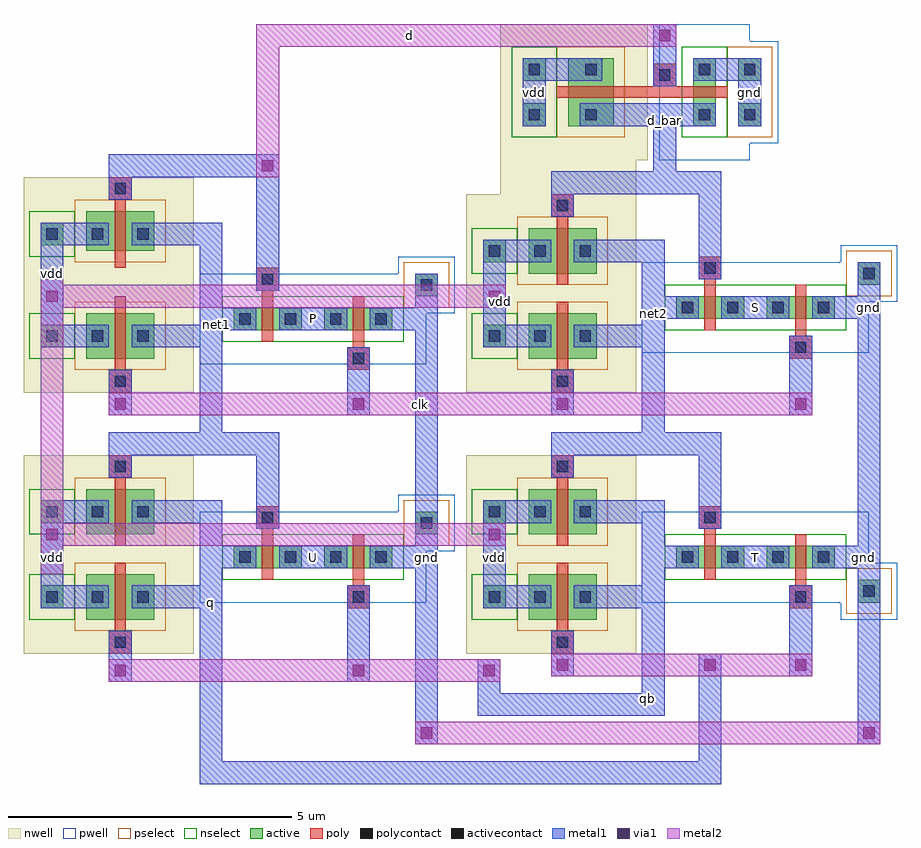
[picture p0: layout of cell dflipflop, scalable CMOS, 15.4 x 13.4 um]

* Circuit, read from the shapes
.subckt dflipflop P S T U clk d d_bar gnd net1 net2 q qb vdd
M1 U net1 q gnd nfet w=0.4u l=0.2u
M2 P d net1 gnd nfet w=0.4u l=0.2u
M3 gnd qb U gnd nfet w=0.4u l=0.2u
M4 gnd clk P gnd nfet w=0.4u l=0.2u
M5 gnd d d_bar gnd nfet w=0.4u l=0.2u
M6 T net2 qb gnd nfet w=0.4u l=0.2u
M7 S d_bar net2 gnd nfet w=0.4u l=0.2u
M8 gnd q T gnd nfet w=0.4u l=0.2u
M9 gnd clk S gnd nfet w=0.4u l=0.2u
M10 q qb vdd vdd pfet w=0.8u l=0.2u
M11 q net1 vdd vdd pfet w=0.8u l=0.2u
M12 net1 clk vdd vdd pfet w=0.8u l=0.2u
M13 net1 d vdd vdd pfet w=0.7u l=0.2u
M14 qb q vdd vdd pfet w=0.8u l=0.2u
M15 qb net2 vdd vdd pfet w=0.8u l=0.2u
M16 net2 clk vdd vdd pfet w=0.8u l=0.2u
M17 net2 d_bar vdd vdd pfet w=0.8u l=0.2u
M18 vdd d d_bar vdd pfet w=0.8u l=0.2u
.ends

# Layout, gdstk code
import gdstk
lib = gdstk.Library(unit=1e-6, precision=1e-09)
def R(c, l, rs):  # rectangles x0, y0, x1, y1
    for r in rs: c.add(gdstk.rectangle(r[:2], r[2:], *l))
def A(c, l, x, y, w, h, nx, ny, dx, dy):  # array of equal rectangles
    R(c, l, [(x+i*dx, y+j*dy, x+i*dx+w, y+j*dy+h) for i in range(nx) for j in range(ny)])
pwell = (41, 0)
nwell = (42, 0)
active = (43, 0)
pselect = (44, 0)
nselect = (45, 0)
poly = (46, 0)
polycontact = (47, 0)
activecontact = (48, 0)
metal1 = (49, 0)
via1 = (50, 0)
metal2 = (51, 0)

dflipflop = lib.new_cell('dflipflop')
R(dflipflop, pwell, [(13,-9.4,14,-9.1), (1.7,-9.1,5.7,-8.2), (9.5,-9.1,14,-8.4), (9.5,-8.4,13.5,-7.5), (1.7,-8.2,6.2,-7.5), (5.2,-7.5,6.2,-7.2), (1.7,-4.9,5.7,-4), (9.5,-4.7,13.5,-3.8), (1.7,-4,6.2,-3.3), (9.5,-3.8,14,-3.1), (5.2,-3.3,6.2,-3), (13,-3.1,14,-2.8), (9.8,-1.3,11.4,-1), (9.8,-1,11.9,0.8), (9.8,0.8,11.4,1.1)])
R(dflipflop, nwell, [(-1.4,-10,1.6,-6.5), (6.4,-10,9.4,-6.5), (-1.4,-5.4,1.6,-1.6), (6.4,-5.4,9.4,-1.9), (7,-1.9,9.4,-1.3), (7,-1.3,9.6,1.1)])
R(dflipflop, active, [(-0.3,-9.4,0.9,-8.6), (7.5,-9.4,8.7,-8.6), (-1.1,-9.2,-0.7,-8.8), (6.7,-9.2,7.1,-8.8), (13.3,-9.1,13.7,-8.7), (2.3,-8.5,3.5,-8.1), (3.9,-8.5,5.1,-8.1), (10.1,-8.5,11.3,-8.1), (11.7,-8.5,12.9,-8.1), (-0.3,-7.9,0.9,-7.1), (5.5,-7.9,5.9,-7.5), (7.5,-7.9,8.7,-7.1), (-1.1,-7.7,-0.7,-7.3), (6.7,-7.7,7.1,-7.3), (-0.3,-4.8,0.9,-4), (7.5,-4.8,8.7,-4), (-1.1,-4.6,-0.7,-4.2), (6.7,-4.6,7.1,-4.2), (2.3,-4.3,3.5,-3.9), (3.9,-4.3,5.1,-3.9), (10.1,-4.1,11.3,-3.7), (11.7,-4.1,12.9,-3.7), (5.5,-3.7,5.9,-3.3), (13.3,-3.5,13.7,-3.1), (7.5,-3.3,8.7,-2.5), (6.7,-3.1,7.1,-2.7), (-0.3,-2.9,0.9,-2.2), (-1.1,-2.8,-0.7,-2.4), (7.4,-0.7,7.8,-0.3), (8.2,-0.7,9,0.5), (10.4,-0.7,10.8,0.5), (11.2,-0.7,11.6,-0.3), (7.4,0.1,7.8,0.5), (11.2,0.1,11.6,0.5)])
R(dflipflop, pselect, [(-0.5,-9.6,1.1,-8.4), (7.3,-9.6,8.9,-8.4), (13.1,-9.3,13.9,-8.5), (-0.5,-8.1,1.1,-6.9), (5.3,-8.1,6.1,-7.3), (7.3,-8.1,8.9,-6.9), (-0.5,-5,1.1,-3.8), (7.3,-5,8.9,-3.8), (5.3,-3.9,6.1,-3.1), (13.1,-3.7,13.9,-2.9), (7.3,-3.5,8.9,-2.3), (-0.5,-3.1,1.1,-2), (8,-0.9,9.2,0.7), (11,-0.9,11.8,0.7)])
R(dflipflop, nselect, [(-1.3,-9.4,-0.5,-8.6), (6.5,-9.4,7.3,-8.6), (2.1,-8.7,5.3,-7.9), (9.9,-8.7,13.1,-7.9), (-1.3,-7.9,-0.5,-7.1), (6.5,-7.9,7.3,-7.1), (-1.3,-4.8,-0.5,-4), (6.5,-4.8,7.3,-4), (2.1,-4.5,5.3,-3.7), (9.9,-4.3,13.1,-3.5), (6.5,-3.3,7.3,-2.5), (-1.3,-3,-0.5,-2.2), (7.2,-0.9,8,0.7), (10.2,-0.9,11,0.7)])
R(dflipflop, poly, [(0.1,-10,0.5,-9.6), (7.9,-10,8.3,-9.6), (0.2,-9.6,0.4,-8.4), (8,-9.6,8.2,-8.4), (4.3,-9.2,4.7,-8.8), (12.1,-9.2,12.5,-8.8), (4.4,-8.8,4.6,-7.9), (12.2,-8.8,12.4,-7.9), (2.8,-8.7,3,-7.8), (10.6,-8.7,10.8,-7.8), (0.2,-8.1,0.4,-6.9), (8,-8.1,8.2,-6.9), (2.7,-7.8,3.1,-7.4), (10.5,-7.8,10.9,-7.4), (0.1,-6.9,0.5,-6.5), (7.9,-6.9,8.3,-6.5), (0.1,-5.4,0.5,-5), (7.9,-5.4,8.3,-5), (0.2,-5,0.4,-3.7), (4.3,-5,4.7,-4.6), (8,-5,8.2,-3.8), (12.1,-4.8,12.5,-4.4), (4.4,-4.6,4.6,-3.7), (2.8,-4.5,3,-3.6), (12.2,-4.4,12.4,-3.5), (10.6,-4.3,10.8,-3.4), (2.7,-3.6,3.1,-3.2), (8,-3.5,8.2,-2.3), (10.5,-3.4,10.9,-3), (0.2,-3.2,0.4,-2), (7.9,-2.3,8.3,-1.9), (0.1,-2,0.5,-1.6), (8,-0.2,11,0), (9.7,0,10.1,0.4)])
R(dflipflop, polycontact, [(0.2,-9.9,0.4,-9.7), (8,-9.9,8.2,-9.7), (4.4,-9.1,4.6,-8.9), (12.2,-9.1,12.4,-8.9), (2.8,-7.7,3,-7.5), (10.6,-7.7,10.8,-7.5), (0.2,-6.8,0.4,-6.6), (8,-6.8,8.2,-6.6), (0.2,-5.3,0.4,-5.1), (8,-5.3,8.2,-5.1), (4.4,-4.9,4.6,-4.7), (12.2,-4.7,12.4,-4.5), (2.8,-3.5,3,-3.3), (10.6,-3.3,10.8,-3.1), (8,-2.2,8.2,-2), (0.2,-1.9,0.4,-1.7), (9.8,0.1,10,0.3)])
A(dflipflop, activecontact, -1, -9.1, 0.2, 0.2, 3, 2, 0.8, 1.5)
A(dflipflop, activecontact, 6.8, -9.1, 0.2, 0.2, 3, 2, 0.8, 1.5)
A(dflipflop, activecontact, 2.4, -8.4, 0.2, 0.2, 4, 2, 0.8, 4.2)
A(dflipflop, activecontact, 10.2, -8.4, 0.2, 0.2, 4, 2, 0.8, 4.4)
A(dflipflop, activecontact, -1, -4.5, 0.2, 0.2, 3, 2, 0.8, 1.8)
A(dflipflop, activecontact, 6.8, -4.5, 0.2, 0.2, 3, 2, 0.8, 1.5)
R(dflipflop, activecontact, [(13.4,-9,13.6,-8.8), (5.6,-7.8,5.8,-7.6), (5.6,-3.6,5.8,-3.4), (13.4,-3.4,13.6,-3.2), (7.5,-0.6,7.7,-0.4), (8.5,-0.6,8.7,-0.4), (10.5,-0.6,10.7,-0.4), (11.3,-0.6,11.5,-0.4), (7.5,0.2,7.7,0.4), (8.5,0.2,8.7,0.4), (10.5,0.2,10.7,0.4), (11.3,0.2,11.5,0.4)])
R(dflipflop, metal1, [(1.7,-12.3,10.9,-11.9), (1.7,-11.9,2.1,-9.2), (10.5,-11.9,10.9,-10), (5.5,-11.6,5.9,-8.5), (13.3,-11.6,13.7,-8.5), (6.6,-11.1,9.9,-10.7), (6.6,-10.7,7,-10.1), (9.5,-10.7,9.9,-9.2), (0.1,-10.5,0.5,-9.6), (4.3,-10.5,4.7,-8.8), (7.9,-10.4,8.3,-9.6), (12.1,-10.4,12.5,-8.8), (-1.1,-9.2,0.1,-8.8), (0.5,-9.2,2.1,-8.8), (6.7,-9.2,7.9,-8.8), (8.3,-9.2,9.9,-8.8), (-1.1,-8.8,-0.7,-7.7), (1.7,-8.8,2.1,-8.5), (6.7,-8.8,7.1,-7.7), (9.5,-8.8,9.9,-8.5), (1.7,-8.5,2.7,-8.1), (3.1,-8.5,4.3,-8.1), (4.7,-8.5,5.9,-8.1), (9.5,-8.5,10.5,-8.1), (10.9,-8.5,12.1,-8.1), (12.5,-8.5,13.7,-8.1), (1.7,-8.1,2.1,-7.7), (5.5,-8.1,5.9,-4.3), (9.5,-8.1,9.9,-7.7), (13.3,-8.1,13.7,-4.1), (2.7,-7.8,3.1,-6.5), (10.5,-7.8,10.9,-6.5), (-1.1,-7.7,0.1,-7.3), (0.5,-7.7,2.1,-7.3), (6.7,-7.7,7.9,-7.3), (8.3,-7.7,9.9,-7.3), (0.1,-6.9,0.5,-6.5), (7.9,-6.9,8.3,-6.5), (0.1,-6.5,3.1,-6.1), (7.9,-6.5,10.9,-6.1), (1.7,-6.1,2.1,-4.6), (9.5,-6.1,9.9,-4.6), (0.1,-5.8,0.5,-5), (4.3,-5.8,4.7,-4.6), (7.9,-5.8,8.3,-5), (12.1,-5.8,12.5,-4.4), (-1.1,-4.6,0.1,-4.2), (0.5,-4.6,2.1,-4.3), (6.7,-4.6,7.9,-4.2), (8.3,-4.6,9.9,-4.2), (0.5,-4.3,2.7,-4.2), (3.1,-4.3,4.3,-3.9), (4.7,-4.3,5.9,-3.9), (-1.1,-4.2,-0.7,-2.8), (1.7,-4.2,2.7,-3.9), (6.7,-4.2,7.1,-3.1), (9.5,-4.2,9.9,-4.1), (9.5,-4.1,10.5,-3.7), (10.9,-4.1,12.1,-3.7), (12.5,-4.1,13.7,-3.7), (1.7,-3.9,2.1,-2.8), (5.5,-3.9,5.9,-3.3), (9.5,-3.7,9.9,-3.1), (13.3,-3.7,13.7,-3.1), (2.7,-3.6,3.1,-1.6), (10.5,-3.4,10.9,-1.9), (6.7,-3.1,7.9,-2.7), (8.3,-3.1,9.9,-2.7), (-1.1,-2.8,0.1,-2.4), (0.5,-2.8,2.1,-2.4), (7.9,-2.3,8.3,-1.9), (0.1,-2,0.5,-1.6), (7.9,-1.9,10.9,-1.5), (0.1,-1.6,3.1,-1.2), (9.7,-1.5,10.1,-0.7), (7.4,-0.7,7.8,0.1), (8.4,-0.7,10.8,-0.3), (11.2,-0.7,11.6,0.1), (9.7,0,10.1,1.1), (7.4,0.1,8.8,0.5), (10.4,0.1,11.6,0.5)])
R(dflipflop, via1, [(5.6,-11.5,5.8,-11.3), (13.4,-11.5,13.6,-11.3), (0.2,-10.4,0.4,-10.2), (4.4,-10.4,4.6,-10.2), (6.7,-10.4,6.9,-10.2), (8,-10.3,8.2,-10.1), (10.6,-10.3,10.8,-10.1), (12.2,-10.3,12.4,-10.1), (-1,-8,-0.8,-7.8), (6.8,-8,7,-7.8), (0.2,-5.7,0.4,-5.5), (4.4,-5.7,4.6,-5.5), (8,-5.7,8.2,-5.5), (12.2,-5.7,12.4,-5.5), (-1,-3.8,-0.8,-3.6), (6.8,-3.8,7,-3.6), (2.8,-1.5,3,-1.3), (9.8,0.8,10,1)])
R(dflipflop, metal2, [(5.5,-11.6,13.7,-11.2), (0.1,-10.5,7,-10.1), (7.9,-10.4,12.5,-10), (-1.1,-8.6,-0.7,-8.1), (-1.1,-8.1,7.1,-7.7), (-1.1,-7.7,-0.7,-3.9), (0.1,-5.8,12.5,-5.4), (-1.1,-3.9,7.1,-3.5), (-1.1,-3.5,-0.7,-3.4), (2.7,-1.6,3.1,0.7), (2.7,0.7,10.1,1.1)])
dflipflop.add(gdstk.Label('vdd', (-0.9,-3.3), layer=49, texttype=0))
dflipflop.add(gdstk.Label('vdd', (-0.9,-8.3), layer=49, texttype=0))
dflipflop.add(gdstk.Label('gnd', (5.7,-8.3), layer=49, texttype=0))
dflipflop.add(gdstk.Label('vdd', (6.9,-8.3), layer=49, texttype=0))
dflipflop.add(gdstk.Label('q', (1.9,-9.1), layer=49, texttype=0))
dflipflop.add(gdstk.Label('gnd', (13.4,-8.3), layer=49, texttype=0))
dflipflop.add(gdstk.Label('qb', (9.6,-10.8), layer=49, texttype=0))
dflipflop.add(gdstk.Label('vdd', (7,-3.8), layer=51, texttype=0))
dflipflop.add(gdstk.Label('gnd', (13.5,-3.9), layer=49, texttype=0))
dflipflop.add(gdstk.Label('d_bar', (9.9,-0.6), layer=49, texttype=0))
dflipflop.add(gdstk.Label('vdd', (7.6,-0.1), layer=49, texttype=0))
dflipflop.add(gdstk.Label('gnd', (11.4,-0.1), layer=49, texttype=0))
dflipflop.add(gdstk.Label('d', (5.4,0.9), layer=51, texttype=0))
dflipflop.add(gdstk.Label('clk', (5.6,-5.6), layer=51, texttype=0))
dflipflop.add(gdstk.Label('net1', (2,-4.2), layer=49, texttype=0))
dflipflop.add(gdstk.Label('P', (3.7,-4.1), layer=49, texttype=0))
dflipflop.add(gdstk.Label('net2', (9.7,-4), layer=49, texttype=0))
dflipflop.add(gdstk.Label('S', (11.5,-3.9), layer=49, texttype=0))
dflipflop.add(gdstk.Label('T', (11.5,-8.3), layer=49, texttype=0))
dflipflop.add(gdstk.Label('U', (3.7,-8.3), layer=49, texttype=0))

lib.write_gds('dflipflop.gds')
